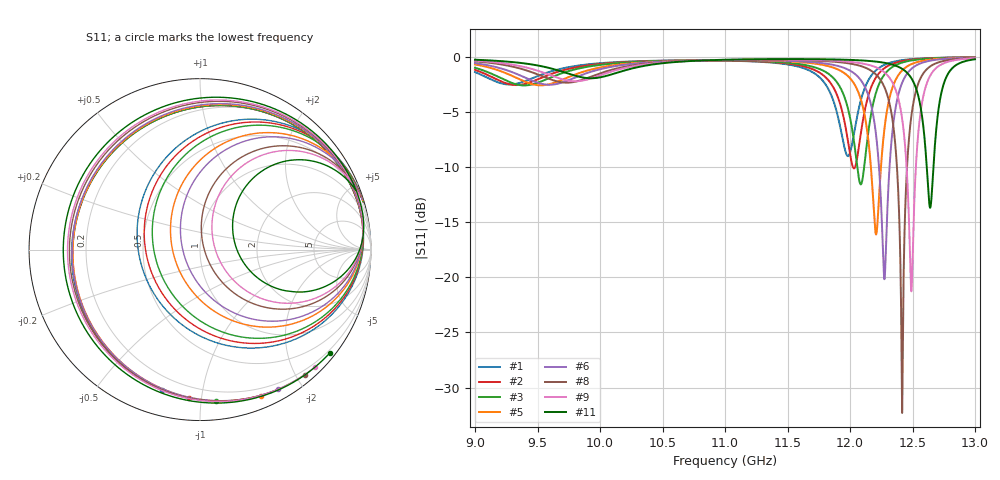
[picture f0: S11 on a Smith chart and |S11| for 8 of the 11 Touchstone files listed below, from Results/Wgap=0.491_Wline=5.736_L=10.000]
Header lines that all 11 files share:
! TOUCHSTONE file generated by CST DESIGN STUDIO
! Project name: C:\Work\MatlabApps\UnitCellOptimizationMatlab\CST\unitcell.cst
! Tree item: Tasks\Sweep1\SPara1\S-Parameters
! Header version: 2024
! Port assignment regex: !\s*Touchstone port\s*([0-9]+)\s*=\s*(CST MWS port|CST DES external port|CST DES block port)\s*(.+)\s* \(\"(.*)\"\)(\s*mode\s*([0-9]+))?.*
! Touchstone port assignment:
! Touchstone port 1 = CST DES external port 1 ("")
# GHz S MA R 50
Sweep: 9 GHz to 13 GHz
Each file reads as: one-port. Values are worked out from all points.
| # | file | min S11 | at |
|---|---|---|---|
| 1 | DS_for_MWS-run-0001.s1p | -9.0 dB | 11.98 GHz |
| 2 | DS_for_MWS-run-0002.s1p | -10.1 dB | 12.03 GHz |
| 3 | DS_for_MWS-run-0003.s1p | -11.6 dB | 12.09 GHz |
| 4 | DS_for_MWS-run-0004.s1p | -13.5 dB | 12.14 GHz |
| 5 | DS_for_MWS-run-0005.s1p | -16.1 dB | 12.21 GHz |
| 6 | DS_for_MWS-run-0006.s1p | -20.2 dB | 12.28 GHz |
| 7 | DS_for_MWS-run-0007.s1p | -28.5 dB | 12.35 GHz |
| 8 | DS_for_MWS-run-0008.s1p | -32.3 dB | 12.42 GHz |
| 9 | DS_for_MWS-run-0009.s1p | -21.3 dB | 12.49 GHz |
| 10 | DS_for_MWS-run-0010.s1p | -16.6 dB | 12.57 GHz |
| 11 | DS_for_MWS-run-0011.s1p | -13.7 dB | 12.64 GHz |
